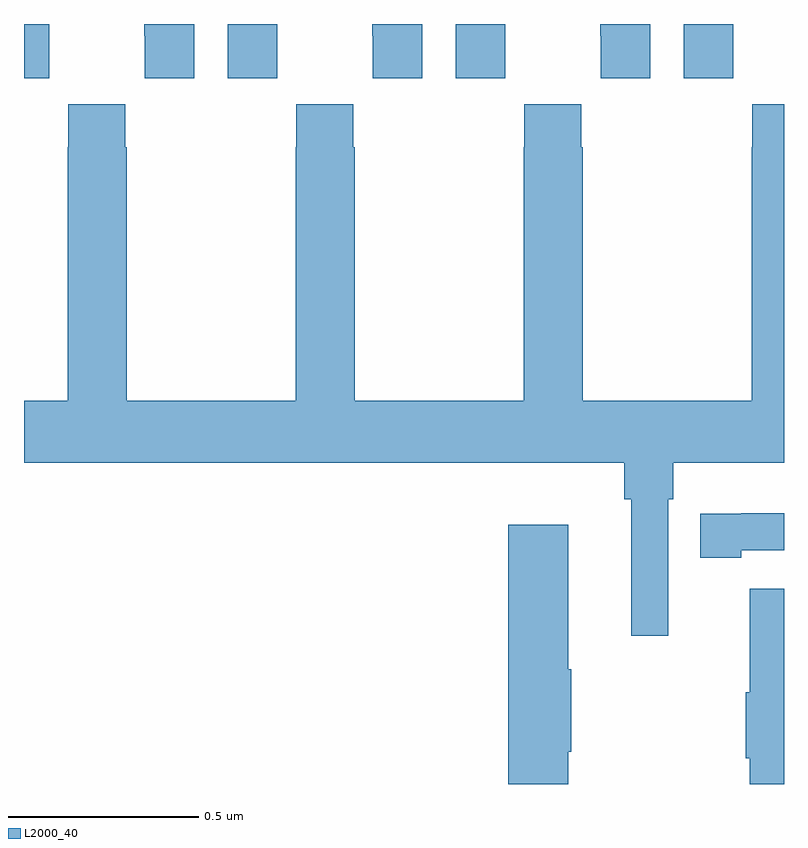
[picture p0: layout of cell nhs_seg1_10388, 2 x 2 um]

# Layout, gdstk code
import gdstk
lib = gdstk.Library(unit=1e-6, precision=1e-09)
def P(c, l, *ps):  # polygons
    for p in ps: c.add(gdstk.Polygon(p, *l))
L2000_40 = (2000, 40)

nhs_seg1_10388 = lib.new_cell('nhs_seg1_10388')
P(nhs_seg1_10388, L2000_40, [(240.066,574.168),(240.067,574.168),(240.067,574.199),(240,574.199),(240,574.056),(240.066,574.056)],
  [(240.448,574.199),(240.317,574.199),(240.317,574.168),(240.318,574.168),(240.318,574.056),(240.448,574.056)],
  [(240.666,574.168),(240.667,574.168),(240.667,574.199),(240.536,574.199),(240.536,574.056),(240.666,574.056)],
  [(241.048,574.199),(240.917,574.199),(240.917,574.168),(240.918,574.168),(240.918,574.056),(241.048,574.056)],
  [(241.266,574.168),(241.267,574.168),(241.267,574.199),(241.136,574.199),(241.136,574.056),(241.266,574.056)],
  [(241.648,574.199),(241.517,574.199),(241.517,574.168),(241.518,574.168),(241.518,574.056),(241.648,574.056)],
  [(241.866,574.168),(241.867,574.168),(241.867,574.199),(241.736,574.199),(241.736,574.056),(241.866,574.056)],
  [(241.695,572.948),(241.709,572.948),(241.709,573.044),(242,573.044),(242,573.988),(241.917,573.988),(241.917,573.875),(241.915,573.875),(241.915,573.208),(241.47,573.208),(241.47,573.875),(241.467,573.875),(241.467,573.988),(241.317,573.988),(241.317,573.875),(241.315,573.875),(241.315,573.208),(240.87,573.208),(240.87,573.875),(240.867,573.875),(240.867,573.988),(240.717,573.988),(240.717,573.875),(240.715,573.875),(240.715,573.208),(240.27,573.208),(240.27,573.875),(240.267,573.875),(240.267,573.988),(240.117,573.988),(240.117,573.875),(240.115,573.875),(240.115,573.208),(240,573.208),(240,573.044),(241.579,573.044),(241.579,572.948),(241.598,572.948),(241.598,572.589),(241.695,572.589)],
  [(241.888,572.814),(242,572.814),(242,572.911),(241.888,572.911),(241.888,572.91),(241.78,572.91),(241.78,572.794),(241.888,572.794)],
  [(241.432,572.284),(241.44,572.284),(241.44,572.501),(241.432,572.501),(241.432,572.881),(241.274,572.881),(241.274,572.199),(241.432,572.199)],
  [(242,572.713),(241.91,572.713),(241.91,572.441),(241.899,572.441),(241.899,572.267),(241.91,572.267),(241.91,572.199),(242,572.199)])

lib.write_gds('nhs_seg1_10388.gds')
